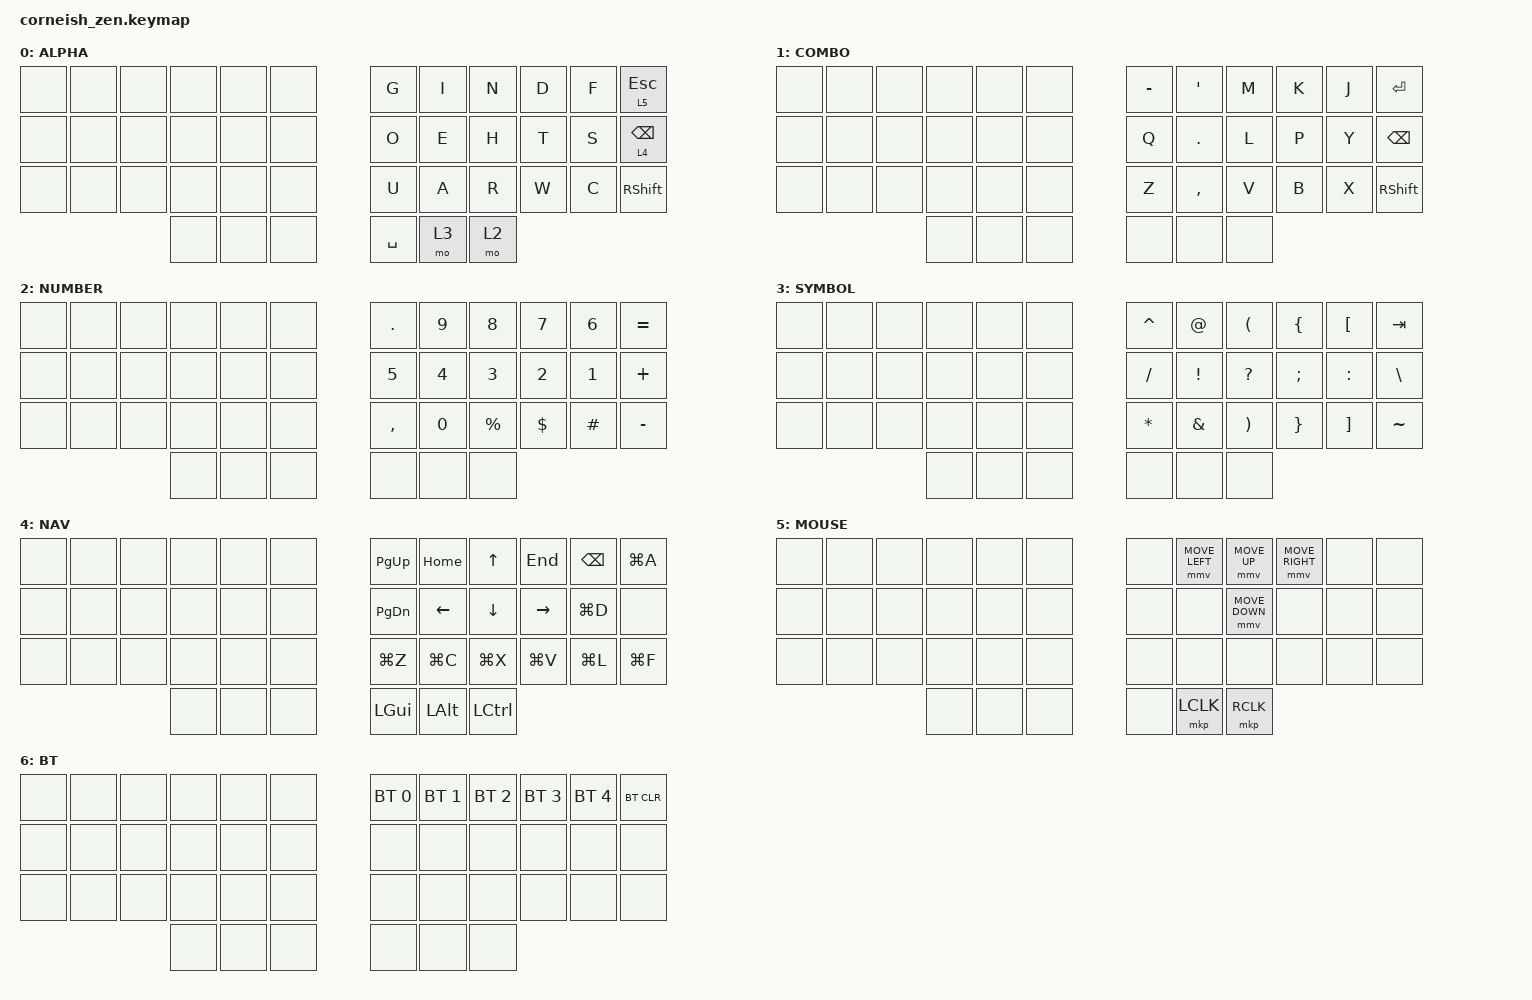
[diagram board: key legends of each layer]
#include <dt-bindings/zmk/mouse.h>
#include <behaviors.dtsi>
#include <dt-bindings/zmk/bt.h>
#include <dt-bindings/zmk/keys.h>

#define ZMK_POINTING_DEFAULT_MOVE_VAL 1500  // default: 600
#define ZMK_POINTING_DEFAULT_SCRL_VAL 20    // default: 10

#include <dt-bindings/zmk/pointing.h>

/ {
    chosen {
        zmk,matrix_transform = &default_transform;

        //zmk,matrix_transform = &five_column_transform;
    };
};

/ {
    combos {
        compatible = "zmk,combos";

        sy_combo {
            bindings = <&kp Y>;
            key-positions = <39 22>;
            layers = <0>;
        };

        tp_combo {
            bindings = <&kp P>;
            key-positions = <39 21>;
            layers = <0>;
        };

        hl_combo {
            bindings = <&kp L>;
            key-positions = <39 20>;
            layers = <0>;
        };

        ed_combo {
            bindings = <&kp DOT>;
            key-positions = <39 19>;
            layers = <0>;
        };

        oq_combo {
            bindings = <&kp Q>;
            key-positions = <39 18>;
            layers = <0>;
        };

        fj_combo {
            bindings = <&kp J>;
            key-positions = <39 10>;
            layers = <0>;
        };

        dk_combo {
            bindings = <&kp K>;
            key-positions = <39 9>;
            layers = <0>;
        };

        nm_combo {
            bindings = <&kp M>;
            key-positions = <39 8>;
            layers = <0>;
        };

        iq_combo {
            bindings = <&kp SQT>;
            key-positions = <39 7>;
            layers = <0>;
        };

        gm_combo {
            bindings = <&kp MINUS>;
            key-positions = <39 6>;
            layers = <0>;
        };

        cx_combo {
            bindings = <&kp X>;
            key-positions = <39 34>;
            layers = <0>;
        };

        wb_combo {
            bindings = <&kp B>;
            key-positions = <39 33>;
            layers = <0>;
        };

        rv_combo {
            bindings = <&kp V>;
            key-positions = <39 32>;
            layers = <0>;
        };

        ac_combo {
            bindings = <&kp COMMA>;
            key-positions = <39 31>;
            layers = <0>;
        };

        uz_combo {
            bindings = <&kp Z>;
            key-positions = <39 30>;
            layers = <0>;
        };

        ten_combo {
            bindings = <&kp RET>;
            key-positions = <39 11>;
            layers = <0>;
        };

        bluetooth {
            bindings = <&sl 6>;
            key-positions = <41 40>;
            layers = <0>;
        };
    };

    keymap {
        compatible = "zmk,keymap";

        alpha {
            label = "ALPHA";

            // -----------------------------------------------------------------------------------------
            // |  TAB |  Q  |  W  |  E  |  R  |  T  |   |  Y  |  U   |  I  |  O  |  P  | BKSP |
            // | CTRL |  A  |  S  |  D  |  F  |  G  |   |  H  |  J   |  K  |  L  |  ;  |  '   |
            // | SHFT |  Z  |  X  |  C  |  V  |  B  |   |  N  |  M   |  ,  |  .  |  /  | ESC  |
            //                    | GUI | LWR | SPC |   | ENT | RSE  | ALT |

            bindings = <
&none  &none  &none  &none  &none  &none    &kp G      &kp I  &kp N  &kp D  &kp F  &lt 5 ESCAPE
&none  &none  &none  &none  &none  &none    &kp O      &kp E  &kp H  &kp T  &kp S  &lt 4 BACKSPACE
&none  &none  &none  &none  &none  &none    &kp U      &kp A  &kp R  &kp W  &kp C  &kp RIGHT_SHIFT
                     &none  &none  &none    &kp SPACE  &mo 3  &mo 2
            >;
        };

        combo {
            bindings = <
&none  &none  &none  &none  &none  &none    &kp MINUS  &kp SQT     &kp M  &kp K  &kp J  &kp RET
&none  &none  &none  &none  &none  &none    &kp Q      &kp PERIOD  &kp L  &kp P  &kp Y  &kp BACKSPACE
&none  &none  &none  &none  &none  &none    &kp Z      &kp COMMA   &kp V  &kp B  &kp X  &kp RIGHT_SHIFT
                     &none  &none  &none    &none      &none       &none
            >;

            label = "COMBO";
        };

        number {
            label = "NUMBER";

            // -----------------------------------------------------------------------------------------
            // |  TAB |  1  |  2  |  3  |  4  |  5  |   |  6  |  7  |  8  |  9  |  0  | BKSP |
            // | BTCLR| BT1 | BT2 | BT3 | BT4 | BT5 |   | LFT | DWN |  UP | RGT |     |      |
            // | SHFT |     |     |     |     |     |   |     |     |     |     |     |      |
            //                    | GUI |     | SPC |   | ENT |     | ALT |

            bindings = <
&none  &none  &none  &none  &none  &none    &kp DOT    &kp NUMBER_9  &kp N8        &kp N7        &kp NUMBER_6  &kp EQUAL
&none  &none  &none  &none  &none  &none    &kp N5     &kp NUMBER_4  &kp NUMBER_3  &kp NUMBER_2  &kp NUMBER_1  &kp PLUS
&none  &none  &none  &none  &none  &none    &kp COMMA  &kp N0        &kp PERCENT   &kp DOLLAR    &kp HASH      &kp MINUS
                     &none  &none  &none    &none      &none         &none
            >;
        };

        symbol {
            label = "SYMBOL";

            // -----------------------------------------------------------------------------------------
            // |  TAB |  !  |  @  |  #  |  $  |  %  |   |  ^  |  &  |  *  |  (  |  )  | BKSP |
            // | CTRL |     |     |     |     |     |   |  -  |  =  |  [  |  ]  |  \  |  `   |
            // | SHFT |     |     |     |     |     |   |  _  |  +  |  {  |  }  | "|" |  ~   |
            //                    | GUI |     | SPC |   | ENT |     | ALT |

            bindings = <
&none  &none  &none  &none  &none  &none    &kp CARET     &kp AT           &kp LPAR               &kp LBRC       &kp LEFT_BRACKET   &kp TAB
&none  &none  &none  &none  &none  &none    &kp SLASH     &kp EXCLAMATION  &kp QUESTION           &kp SEMICOLON  &kp COLON          &kp BACKSLASH
&none  &none  &none  &none  &none  &none    &kp ASTERISK  &kp AMPERSAND    &kp RIGHT_PARENTHESIS  &kp RBRC       &kp RIGHT_BRACKET  &kp TILDE
                     &none  &none  &none    &none         &none            &none
            >;
        };

        navigation {
            bindings = <
&none  &none  &none  &none  &none  &none    &kp PAGE_UP    &kp HOME        &kp UP_ARROW  &kp END          &kp BACKSPACE  &kp LG(A)
&none  &none  &none  &none  &none  &none    &kp PAGE_DOWN  &kp LEFT_ARROW  &kp DOWN      &kp RIGHT_ARROW  &kp LG(D)      &none
&none  &none  &none  &none  &none  &none    &kp LG(Z)      &kp LG(C)       &kp LG(X)     &kp LG(V)        &kp LG(L)      &kp LG(F)
                     &none  &none  &none    &kp LGUI       &kp LEFT_ALT    &kp LCTRL
            >;

            label = "NAV";
        };

        mouse {
            bindings = <
&none  &none  &none  &none  &none  &none    &none  &mmv MOVE_LEFT  &mmv MOVE_UP    &mmv MOVE_RIGHT  &none  &none
&none  &none  &none  &none  &none  &none    &none  &none           &mmv MOVE_DOWN  &none            &none  &none
&none  &none  &none  &none  &none  &none    &none  &none           &none           &none            &none  &none
                     &none  &none  &none    &none  &mkp LCLK       &mkp RCLK
            >;

            label = "MOUSE";
        };

        bluetooth {
            bindings = <
&none  &none  &none  &none  &none  &none    &bt BT_SEL 0  &bt BT_SEL 1  &bt BT_SEL 2  &bt BT_SEL 3  &bt BT_SEL 4  &bt BT_CLR
&none  &none  &none  &none  &none  &none    &none         &none         &none         &none         &none         &none
&none  &none  &none  &none  &none  &none    &none         &none         &none         &none         &none         &none
                     &none  &none  &none    &none         &none         &none
            >;

            label = "BT";
        };
    };
};
